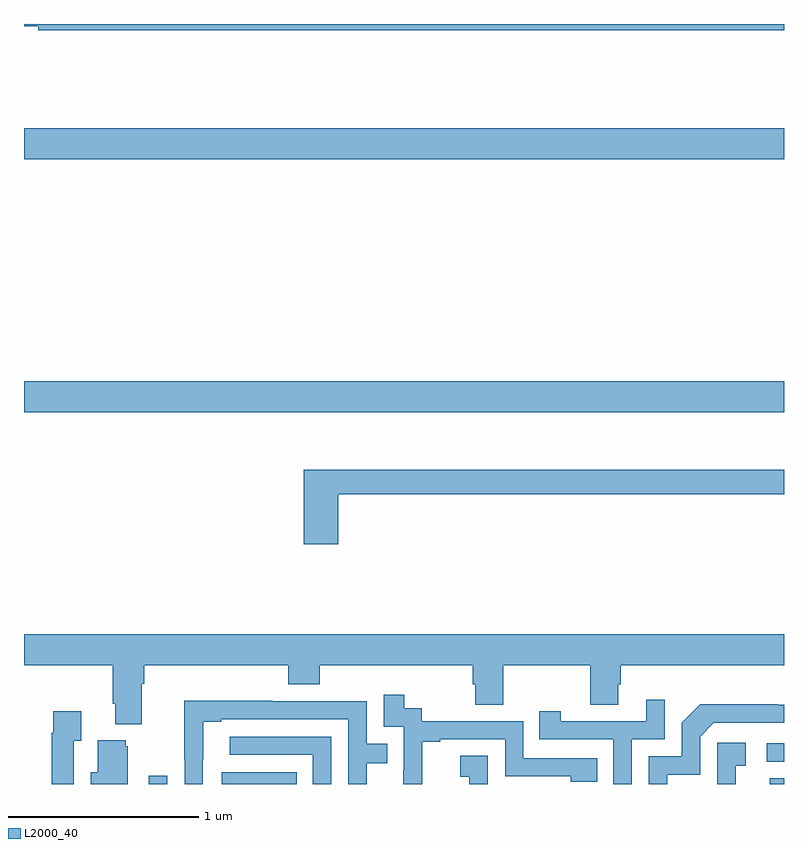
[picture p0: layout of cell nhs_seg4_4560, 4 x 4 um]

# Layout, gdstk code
import gdstk
lib = gdstk.Library(unit=1e-6, precision=1e-09)
def R(c, l, rs):  # rectangles x0, y0, x1, y1
    for r in rs: c.add(gdstk.rectangle(r[:2], r[2:], *l))
def P(c, l, *ps):  # polygons
    for p in ps: c.add(gdstk.Polygon(p, *l))
L2000_40 = (2000, 40)

nhs_seg4_4560 = lib.new_cell('nhs_seg4_4560')
R(nhs_seg4_4560, L2000_40, [(357.657,758.9,357.753,758.944), (358.04,758.9,358.436,758.962), (360.926,758.9,361,758.929), (360.909,759.018,361,759.114), (357,760.856,361,761.02), (357,762.188,361,762.352)])
P(nhs_seg4_4560, L2000_40, [(361,762.9),(357,762.9),(357,762.887),(357.076,762.887),(357.076,762.868),(361,762.868)],
  [(358.655,760.426),(361,760.426),(361,760.555),(358.472,760.555),(358.472,760.161),(358.655,760.161)],
  [(357.619,759.428),(357.632,759.428),(357.632,759.524),(358.391,759.524),(358.391,759.425),(358.556,759.425),(358.556,759.524),(359.363,759.524),(359.363,759.426),(359.375,759.426),(359.375,759.316),(359.523,759.316),(359.523,759.524),(359.98,759.524),(359.98,759.316),(360.127,759.316),(360.127,759.426),(360.14,759.426),(360.14,759.524),(361,759.524),(361,759.688),(357,759.688),(357,759.524),(357.467,759.524),(357.467,759.322),(357.479,759.322),(357.479,759.215),(357.619,759.215)],
  [(359.096,759.123),(359.191,759.123),(359.191,759.135),(359.532,759.135),(359.532,758.94),(359.877,758.94),(359.877,758.913),(360.017,758.913),(360.017,759.036),(359.628,759.036),(359.628,759.231),(359.094,759.231),(359.094,759.3),(359.002,759.3),(359.002,759.37),(358.893,759.37),(358.893,759.201),(358.998,759.201),(358.998,758.972),(358.997,758.972),(358.997,758.9),(359.096,758.9)],
  [(360.198,759.135),(360.372,759.135),(360.372,759.343),(360.275,759.343),(360.275,759.231),(359.824,759.231),(359.824,759.283),(359.713,759.283),(359.713,759.135),(360.102,759.135),(360.102,758.9),(360.198,758.9)],
  [(357.942,759.031),(357.943,759.031),(357.943,759.228),(358.039,759.228),(358.039,759.24),(358.707,759.24),(358.707,758.9),(358.803,758.9),(358.803,759.01),(358.913,759.01),(358.913,759.111),(358.803,759.111),(358.803,759.336),(358.307,759.336),(358.307,759.338),(357.844,759.338),(357.844,759.031),(357.846,759.031),(357.846,758.9),(357.942,758.9)],
  [(360.385,758.949),(360.558,758.949),(360.558,759.15),(360.63,759.222),(361,759.222),(361,759.318),(360.968,759.318),(360.968,759.32),(360.56,759.32),(360.462,759.222),(360.462,759.045),(360.288,759.045),(360.288,758.9),(360.385,758.9)],
  [(357.261,759.127),(357.301,759.127),(357.301,759.283),(357.153,759.283),(357.153,759.17),(357.145,759.17),(357.145,758.9),(357.261,758.9)],
  [(358.617,759.15),(358.083,759.15),(358.083,759.054),(358.521,759.054),(358.521,758.9),(358.617,758.9)],
  [(357.547,759.099),(357.536,759.099),(357.536,759.13),(357.389,759.13),(357.389,758.962),(357.35,758.962),(357.35,758.9),(357.547,758.9)],
  [(360.746,758.997),(360.799,758.997),(360.799,759.118),(360.648,759.118),(360.648,758.9),(360.746,758.9)],
  [(359.442,759.049),(359.295,759.049),(359.295,758.939),(359.344,758.939),(359.344,758.9),(359.442,758.9)])

lib.write_gds('nhs_seg4_4560.gds')
